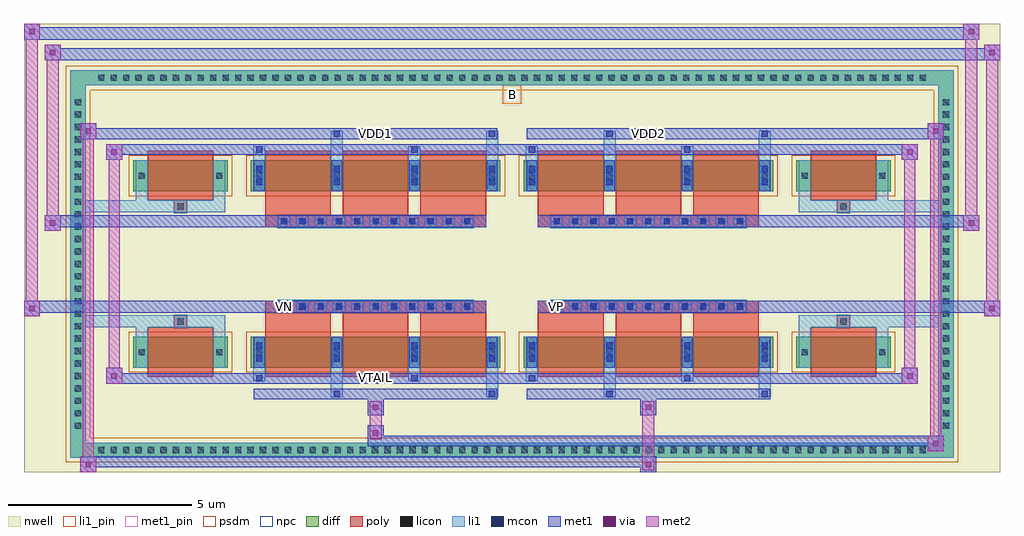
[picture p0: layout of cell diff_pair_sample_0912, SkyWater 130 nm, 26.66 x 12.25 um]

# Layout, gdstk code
import gdstk
lib = gdstk.Library(unit=1e-6, precision=5e-09)
def R(c, l, rs):  # rectangles x0, y0, x1, y1
    for r in rs: c.add(gdstk.rectangle(r[:2], r[2:], *l))
def A(c, l, x, y, w, h, nx, ny, dx, dy):  # array of equal rectangles
    R(c, l, [(x+i*dx, y+j*dy, x+i*dx+w, y+j*dy+h) for i in range(nx) for j in range(ny)])
def P(c, l, *ps):  # polygons
    for p in ps: c.add(gdstk.Polygon(p, *l))
nwell = (64, 20)
diff = (65, 20)
poly = (66, 20)
licon = (66, 44)
li1_pin = (67, 16)
li1 = (67, 20)
mcon = (67, 44)
met1_pin = (68, 16)
met1 = (68, 20)
via = (68, 44)
met2 = (69, 20)
psdm = (94, 20)
npc = (95, 20)

diff_pair_sample_0912 = lib.new_cell('diff_pair_sample_0912')
R(diff_pair_sample_0912, nwell, [(-13.33,-5.69,13.33,6.56), (-10.65,-3.88,-0.01,-0.8), (0.01,-3.88,10.65,-0.8), (-10.65,0.8,-0.01,3.88), (0.01,0.8,10.65,3.88)])
A(diff_pair_sample_0912, diff, -11.425, -5.29, 0.41, 0.41, 67, 2, 0.34, 10.17)
A(diff_pair_sample_0912, diff, -12.06, -4.625, 0.41, 0.41, 1, 27, 0, 0.34)
A(diff_pair_sample_0912, diff, 11.65, -4.625, 0.41, 0.41, 1, 27, 0, 0.34)
R(diff_pair_sample_0912, diff, [(-11.425,-5.29,11.425,-4.88), (-12.06,-4.625,-11.65,4.625), (11.65,-4.625,12.06,4.625), (-10.34,-2.835,-7.77,-1.985), (-7.13,-2.835,-0.32,-1.985), (0.32,-2.835,7.13,-1.985), (7.77,-2.835,10.34,-1.985), (-10.34,1.985,-7.77,2.835), (-7.13,1.985,-0.32,2.835), (0.32,1.985,7.13,2.835), (7.77,1.985,10.34,2.835), (-11.425,4.88,11.425,5.29)])
P(diff_pair_sample_0912, diff, [(12.06,5.29),(-12.06,5.29),(-12.06,-4.88),(-11.65,-4.88),(-11.65,4.88),(11.65,4.88),(11.65,-4.88),(-11.65,-4.88),(-12.06,-4.88),(-12.06,-5.29),(12.06,-5.29)])
A(diff_pair_sample_0912, poly, -6.74, -3.085, 1.79, 1.35, 3, 2, 2.12, 4.82)
A(diff_pair_sample_0912, poly, 0.71, -3.085, 1.79, 1.35, 3, 2, 2.12, 4.82)
A(diff_pair_sample_0912, poly, -6.74, -1.735, 1.79, 0.405, 3, 2, 2.12, 3.065)
A(diff_pair_sample_0912, poly, 0.71, -1.735, 1.79, 0.405, 3, 2, 2.12, 3.065)
A(diff_pair_sample_0912, poly, -6.39, -1.33, 0.33, 0.33, 11, 2, 0.5, 2.33)
A(diff_pair_sample_0912, poly, 1.06, -1.33, 0.33, 0.33, 11, 2, 0.5, 2.33)
R(diff_pair_sample_0912, poly, [(-9.95,-3.085,-8.16,-1.735), (8.16,-3.085,9.95,-1.735), (-9.22,-1.735,-8.89,-1.405), (-9.22,-1.735,-8.89,-1.405), (8.89,-1.735,9.22,-1.405), (8.89,-1.735,9.22,-1.405), (-6.74,-1.33,-0.71,-1), (0.71,-1.33,6.74,-1), (-6.74,1,-0.71,1.33), (0.71,1,6.74,1.33), (-9.22,1.405,-8.89,1.735), (-9.22,1.405,-8.89,1.735), (8.89,1.405,9.22,1.735), (8.89,1.405,9.22,1.735), (-9.95,1.735,-8.16,3.085), (8.16,1.735,9.95,3.085)])
A(diff_pair_sample_0912, licon, -11.305, -5.17, 0.17, 0.17, 67, 2, 0.34, 10.17)
A(diff_pair_sample_0912, licon, -11.94, -4.505, 0.17, 0.17, 1, 27, 0, 0.34)
A(diff_pair_sample_0912, licon, 11.77, -4.505, 0.17, 0.17, 1, 27, 0, 0.34)
A(diff_pair_sample_0912, licon, -6.99, -2.495, 0.17, 0.17, 4, 2, 2.12, 4.82)
A(diff_pair_sample_0912, licon, 0.46, -2.495, 0.17, 0.17, 4, 2, 2.12, 4.82)
A(diff_pair_sample_0912, licon, -6.31, -1.25, 0.17, 0.17, 11, 2, 0.5, 2.33)
A(diff_pair_sample_0912, licon, 1.14, -1.25, 0.17, 0.17, 11, 2, 0.5, 2.33)
R(diff_pair_sample_0912, licon, [(-10.2,-2.495,-10.03,-2.325), (-8.08,-2.495,-7.91,-2.325), (7.91,-2.495,8.08,-2.325), (10.03,-2.495,10.2,-2.325), (-9.14,-1.655,-8.97,-1.485), (8.97,-1.655,9.14,-1.485), (-9.14,1.485,-8.97,1.655), (8.97,1.485,9.14,1.655), (-10.2,2.325,-10.03,2.495), (-8.08,2.325,-7.91,2.495), (7.91,2.325,8.08,2.495), (10.03,2.325,10.2,2.495)])
R(diff_pair_sample_0912, li1_pin, [(-0.25,4.38,0.25,4.88)])
A(diff_pair_sample_0912, li1, -11.385, -5.25, 0.33, 0.33, 67, 2, 0.34, 10.17)
A(diff_pair_sample_0912, li1, -12.02, -4.585, 0.33, 0.33, 1, 27, 0, 0.34)
A(diff_pair_sample_0912, li1, 11.69, -4.585, 0.33, 0.33, 1, 27, 0, 0.34)
A(diff_pair_sample_0912, li1, -7.07, -2.835, 0.33, 0.85, 4, 2, 2.12, 4.82)
A(diff_pair_sample_0912, li1, 0.38, -2.835, 0.33, 0.85, 4, 2, 2.12, 4.82)
A(diff_pair_sample_0912, li1, -6.99, -2.675, 0.17, 0.17, 4, 2, 2.12, 0.36)
A(diff_pair_sample_0912, li1, -6.99, -2.675, 0.17, 0.53, 4, 2, 2.12, 4.82)
A(diff_pair_sample_0912, li1, 0.46, -2.675, 0.17, 0.17, 4, 2, 2.12, 0.36)
A(diff_pair_sample_0912, li1, 0.46, -2.675, 0.17, 0.53, 4, 2, 2.12, 4.82)
A(diff_pair_sample_0912, li1, -7.07, -2.575, 0.33, 0.33, 4, 2, 2.12, 4.82)
A(diff_pair_sample_0912, li1, 0.38, -2.575, 0.33, 0.33, 4, 2, 2.12, 4.82)
A(diff_pair_sample_0912, li1, -6.39, -1.33, 0.33, 0.33, 11, 2, 0.5, 2.33)
A(diff_pair_sample_0912, li1, 1.06, -1.33, 0.33, 0.33, 11, 2, 0.5, 2.33)
A(diff_pair_sample_0912, li1, -6.99, 2.145, 0.17, 0.17, 4, 2, 2.12, 0.36)
A(diff_pair_sample_0912, li1, 0.46, 2.145, 0.17, 0.17, 4, 2, 2.12, 0.36)
R(diff_pair_sample_0912, li1, [(-12.06,-5.29,-11.65,-4.88), (-12.06,-5.29,-11.65,-4.88), (-11.65,-5.29,11.65,-4.88), (11.65,-5.29,12.06,-4.88), (11.65,-5.29,12.06,-4.88), (-12.06,-4.88,-11.65,4.88), (11.65,-4.88,12.06,4.88), (-4.95,-3.64,-4.62,-2.835), (-4.87,-3.64,-4.7,-3.47), (-0.71,-3.64,-0.38,-2.835), (-0.63,-3.64,-0.46,-3.47), (2.5,-3.64,2.83,-2.835), (2.58,-3.64,2.75,-3.47), (6.74,-3.64,7.07,-2.835), (6.82,-3.64,6.99,-3.47), (-7.07,-3.21,-6.74,-2.835), (-6.99,-3.21,-6.82,-3.04), (-2.83,-3.21,-2.5,-2.835), (-2.75,-3.21,-2.58,-3.04), (0.38,-3.21,0.71,-2.835), (0.46,-3.21,0.63,-3.04), (4.62,-3.21,4.95,-2.835), (4.7,-3.21,4.87,-3.04), (-10.28,-2.835,-9.95,-1.985), (-8.16,-2.835,-7.83,-1.985), (7.83,-2.835,8.16,-1.985), (9.95,-2.835,10.28,-1.985), (-10.28,-2.575,-9.95,-2.245), (-8.16,-2.575,-7.83,-2.245), (7.83,-2.575,8.16,-2.245), (9.95,-2.575,10.28,-2.245), (-10.28,-1.985,-9.95,-1.405), (-8.16,-1.985,-7.83,-1.405), (7.83,-1.985,8.16,-1.405), (9.95,-1.985,10.28,-1.405), (-12.06,-1.735,-9.22,-1.405), (-10.28,-1.735,-9.22,-1.405), (-9.22,-1.735,-8.89,-1.405), (-8.89,-1.735,-7.83,-1.405), (7.83,-1.735,8.89,-1.405), (8.89,-1.735,9.22,-1.405), (8.89,-1.735,12.06,-1.405), (9.22,-1.735,10.28,-1.405), (-12.06,1.405,-9.22,1.735), (-10.28,1.405,-9.22,1.735), (-10.28,1.405,-9.95,1.985), (-9.22,1.405,-8.89,1.735), (-8.89,1.405,-7.83,1.735), (-8.16,1.405,-7.83,1.985), (7.83,1.405,8.89,1.735), (7.83,1.405,8.16,1.985), (8.89,1.405,9.22,1.735), (8.89,1.405,12.06,1.735), (9.22,1.405,10.28,1.735), (9.95,1.405,10.28,1.985), (-10.28,1.985,-9.95,2.835), (-8.16,1.985,-7.83,2.835), (7.83,1.985,8.16,2.835), (9.95,1.985,10.28,2.835), (-10.28,2.245,-9.95,2.575), (-8.16,2.245,-7.83,2.575), (7.83,2.245,8.16,2.575), (9.95,2.245,10.28,2.575), (-7.07,2.835,-6.74,3.21), (-4.95,2.835,-4.62,3.64), (-2.83,2.835,-2.5,3.21), (-0.71,2.835,-0.38,3.64), (0.38,2.835,0.71,3.21), (2.5,2.835,2.83,3.64), (4.62,2.835,4.95,3.21), (6.74,2.835,7.07,3.64), (-6.99,3.04,-6.82,3.21), (-2.75,3.04,-2.58,3.21), (0.46,3.04,0.63,3.21), (4.7,3.04,4.87,3.21), (-4.87,3.47,-4.7,3.64), (-0.63,3.47,-0.46,3.64), (2.58,3.47,2.75,3.64), (6.82,3.47,6.99,3.64), (-12.06,4.88,-11.65,5.29), (-12.06,4.88,-11.65,5.29), (-11.65,4.88,11.65,5.29), (11.65,4.88,12.06,5.29), (11.65,4.88,12.06,5.29)])
A(diff_pair_sample_0912, mcon, -6.99, -2.675, 0.17, 0.17, 4, 2, 2.12, 0.36)
A(diff_pair_sample_0912, mcon, 0.46, -2.675, 0.17, 0.17, 4, 2, 2.12, 0.36)
A(diff_pair_sample_0912, mcon, -6.31, -1.25, 0.17, 0.17, 11, 2, 0.5, 2.33)
A(diff_pair_sample_0912, mcon, 1.14, -1.25, 0.17, 0.17, 11, 2, 0.5, 2.33)
A(diff_pair_sample_0912, mcon, -6.99, 2.145, 0.17, 0.17, 4, 2, 2.12, 0.36)
A(diff_pair_sample_0912, mcon, 0.46, 2.145, 0.17, 0.17, 4, 2, 2.12, 0.36)
R(diff_pair_sample_0912, mcon, [(-4.87,-3.64,-4.7,-3.47), (-0.63,-3.64,-0.46,-3.47), (2.58,-3.64,2.75,-3.47), (6.82,-3.64,6.99,-3.47), (-6.99,-3.21,-6.82,-3.04), (-2.75,-3.21,-2.58,-3.04), (0.46,-3.21,0.63,-3.04), (4.7,-3.21,4.87,-3.04), (-6.99,3.04,-6.82,3.21), (-2.75,3.04,-2.58,3.21), (0.46,3.04,0.63,3.21), (4.7,3.04,4.87,3.21), (-4.87,3.47,-4.7,3.64), (-0.63,3.47,-0.46,3.64), (2.58,3.47,2.75,3.64), (6.82,3.47,6.99,3.64)])
R(diff_pair_sample_0912, met1_pin, [(-3.86,-3.25,-3.59,-2.98), (-6.36,-1.29,-6.09,-1.02), (1.09,-1.29,1.36,-1.02), (-3.86,3.43,-3.59,3.7), (3.59,3.43,3.86,3.7)])
A(diff_pair_sample_0912, met1, -7.05, -2.835, 0.29, 0.85, 4, 2, 2.12, 4.82)
A(diff_pair_sample_0912, met1, 0.4, -2.835, 0.29, 0.85, 4, 2, 2.12, 4.82)
A(diff_pair_sample_0912, met1, -7.05, -2.735, 0.29, 0.29, 4, 2, 2.12, 0.36)
A(diff_pair_sample_0912, met1, 0.4, -2.735, 0.29, 0.29, 4, 2, 2.12, 0.36)
A(diff_pair_sample_0912, met1, -6.37, -1.31, 0.29, 0.29, 11, 2, 0.5, 2.33)
A(diff_pair_sample_0912, met1, 1.08, -1.31, 0.29, 0.29, 11, 2, 0.5, 2.33)
A(diff_pair_sample_0912, met1, -7.05, 2.085, 0.29, 0.29, 4, 2, 2.12, 0.36)
A(diff_pair_sample_0912, met1, 0.4, 2.085, 0.29, 0.29, 4, 2, 2.12, 0.36)
R(diff_pair_sample_0912, met1, [(-11.79,-5.69,-11.36,-5.26), (3.51,-5.69,3.94,-5.26), (-11.79,-5.55,3.94,-5.26), (11.36,-5.12,11.79,-4.69), (-3.94,-4.98,11.79,-4.69), (-3.94,-4.84,-3.51,-4.41), (-3.94,-4.13,-3.51,-3.7), (3.51,-4.13,3.94,-3.7), (-7.05,-3.7,-0.4,-3.41), (-4.93,-3.7,-4.64,-3.41), (-0.69,-3.7,-0.4,-3.41), (0.4,-3.7,7.05,-3.41), (2.52,-3.7,2.81,-3.41), (6.76,-3.7,7.05,-3.41), (-11.08,-3.27,-10.65,-2.84), (-11.08,-3.27,-7.05,-2.98), (-7.05,-3.27,-6.76,-2.98), (-7.05,-3.27,-0.4,-2.98), (-2.81,-3.27,-2.52,-2.98), (-0.4,-3.27,0.4,-2.98), (0.4,-3.27,0.69,-2.98), (0.4,-3.27,7.05,-2.98), (4.64,-3.27,4.93,-2.98), (7.05,-3.27,11.08,-2.98), (10.65,-3.27,11.08,-2.84), (-13.33,-1.43,-12.9,-1), (12.9,-1.43,13.33,-1), (-13.33,-1.33,-0.71,-1), (-6.74,-1.33,-0.71,-1), (0.71,-1.33,6.74,-1), (0.71,-1.33,13.33,-1), (-12.76,0.9,-12.33,1.33), (12.33,0.9,12.76,1.33), (-12.76,1,-6.74,1.33), (-6.74,1,-0.71,1.33), (0.71,1,6.74,1.33), (6.74,1,12.76,1.33), (-11.08,2.84,-10.65,3.27), (10.65,2.84,11.08,3.27), (-11.08,2.98,-7.05,3.27), (-7.05,2.98,-6.76,3.27), (-7.05,2.98,-0.4,3.27), (-2.81,2.98,-2.52,3.27), (-0.4,2.98,0.4,3.27), (0.4,2.98,0.69,3.27), (0.4,2.98,7.05,3.27), (4.64,2.98,4.93,3.27), (7.05,2.98,11.08,3.27), (-11.79,3.41,-11.36,3.84), (-11.79,3.41,-7.05,3.7), (-7.05,3.41,-0.4,3.7), (-4.93,3.41,-4.64,3.7), (-0.69,3.41,-0.4,3.7), (0.4,3.41,7.05,3.7), (2.52,3.41,2.81,3.7), (6.76,3.41,7.05,3.7), (7.05,3.41,11.79,3.7), (11.36,3.41,11.79,3.84), (-12.76,5.56,-12.33,5.99), (-12.76,5.56,-10.65,5.89), (-10.65,5.56,10.65,5.89), (10.65,5.56,13.33,5.89), (12.9,5.56,13.33,5.99), (-13.33,6.13,-12.9,6.56), (-13.33,6.13,-10.65,6.46), (-10.65,6.13,10.65,6.46), (10.65,6.13,12.76,6.46), (12.33,6.13,12.76,6.56)])
R(diff_pair_sample_0912, via, [(-11.65,-5.55,-11.5,-5.4), (3.65,-5.55,3.8,-5.4), (11.5,-4.98,11.65,-4.83), (-3.8,-4.7,-3.65,-4.55), (-3.8,-3.99,-3.65,-3.84), (3.65,-3.99,3.8,-3.84), (-10.94,-3.13,-10.79,-2.98), (10.79,-3.13,10.94,-2.98), (-13.19,-1.29,-13.04,-1.14), (13.04,-1.29,13.19,-1.14), (-12.62,1.04,-12.47,1.19), (12.47,1.04,12.62,1.19), (-10.94,2.98,-10.79,3.13), (10.79,2.98,10.94,3.13), (-11.65,3.55,-11.5,3.7), (11.5,3.55,11.65,3.7), (-12.62,5.7,-12.47,5.85), (13.04,5.7,13.19,5.85), (-13.19,6.27,-13.04,6.42), (12.47,6.27,12.62,6.42)])
R(diff_pair_sample_0912, met2, [(-11.79,-5.69,-11.36,-5.26), (-11.72,-5.69,-11.43,3.84), (-11.43,-5.69,-11.36,-5.26), (-11.74,-5.64,-11.41,-5.31), (3.56,-5.64,3.89,-5.31), (3.56,-5.31,3.89,-4.08), (11.36,-5.12,11.79,-4.69), (11.43,-5.12,11.72,3.84), (11.72,-5.12,11.79,-4.69), (11.41,-5.07,11.74,-4.74), (-3.89,-4.79,-3.56,-4.46), (-3.89,-4.46,-3.56,-4.08), (-3.89,-4.08,-3.56,-3.75), (3.56,-4.08,3.89,-3.75), (-11.08,-3.27,-10.65,-2.84), (-11.01,-3.27,-10.72,3.27), (-10.72,-3.27,-10.65,-2.84), (10.65,-3.27,11.08,-2.84), (10.72,-3.27,11.01,3.27), (11.01,-3.27,11.08,-2.84), (-11.03,-3.22,-10.7,-2.89), (10.7,-3.22,11.03,-2.89), (-13.33,-1.43,-12.9,-1), (-13.28,-1.43,-12.95,6.56), (-12.95,-1.43,-12.9,-1), (12.9,-1.43,13.33,-1), (12.95,-1.43,13.28,5.99), (13.28,-1.43,13.33,-1), (-13.28,-1.38,-12.95,-1.05), (12.95,-1.38,13.28,-1.05), (-12.76,0.9,-12.33,1.33), (-12.71,0.9,-12.38,5.99), (-12.38,0.9,-12.33,1.33), (12.33,0.9,12.76,1.33), (12.38,0.9,12.71,6.56), (12.71,0.9,12.76,1.33), (-12.71,0.95,-12.38,1.28), (12.38,0.95,12.71,1.28), (-11.08,2.84,-10.65,3.27), (-10.72,2.84,-10.65,3.27), (10.65,2.84,11.08,3.27), (11.01,2.84,11.08,3.27), (-11.03,2.89,-10.7,3.22), (10.7,2.89,11.03,3.22), (-11.79,3.41,-11.36,3.84), (-11.43,3.41,-11.36,3.84), (11.36,3.41,11.79,3.84), (11.72,3.41,11.79,3.84), (-11.74,3.46,-11.41,3.79), (11.41,3.46,11.74,3.79), (-12.76,5.56,-12.33,5.99), (-12.38,5.56,-12.33,5.99), (12.9,5.56,13.33,5.99), (13.28,5.56,13.33,5.99), (-12.71,5.61,-12.38,5.94), (12.95,5.61,13.28,5.94), (-13.33,6.13,-12.9,6.56), (-12.95,6.13,-12.9,6.56), (12.33,6.13,12.76,6.56), (12.71,6.13,12.76,6.56), (-13.28,6.18,-12.95,6.51), (12.38,6.18,12.71,6.51)])
R(diff_pair_sample_0912, psdm, [(-10.47,-2.965,-7.64,-1.855), (-7.26,-2.965,-0.19,-1.855), (0.19,-2.965,7.26,-1.855), (7.64,-2.965,10.47,-1.855), (-10.47,1.855,-7.64,2.965), (-7.26,1.855,-0.19,2.965), (0.19,1.855,7.26,2.965), (7.64,1.855,10.47,2.965)])
P(diff_pair_sample_0912, psdm, [(12.19,5.42),(-12.19,5.42),(-12.19,-4.75),(-11.52,-4.75),(-11.52,4.75),(11.52,4.75),(11.52,-4.75),(-11.52,-4.75),(-12.19,-4.75),(-12.19,-5.42),(12.19,-5.42)])
A(diff_pair_sample_0912, npc, -6.41, -1.35, 0.37, 0.37, 11, 2, 0.5, 2.33)
A(diff_pair_sample_0912, npc, 1.04, -1.35, 0.37, 0.37, 11, 2, 0.5, 2.33)
R(diff_pair_sample_0912, npc, [(-9.24,-1.755,-8.87,-1.385), (8.87,-1.755,9.24,-1.385), (-6.41,-1.35,-5.54,-0.98), (-6.41,-1.35,-5.54,-0.98), (-5.91,-1.35,-5.04,-0.98), (-5.91,-1.35,-5.04,-0.98), (-5.41,-1.35,-4.54,-0.98), (-5.41,-1.35,-4.54,-0.98), (-4.91,-1.35,-4.04,-0.98), (-4.91,-1.35,-4.04,-0.98), (-4.41,-1.35,-3.54,-0.98), (-4.41,-1.35,-3.54,-0.98), (-3.91,-1.35,-3.04,-0.98), (-3.91,-1.35,-3.04,-0.98), (-3.41,-1.35,-2.54,-0.98), (-3.41,-1.35,-2.54,-0.98), (-2.91,-1.35,-2.04,-0.98), (-2.91,-1.35,-2.04,-0.98), (-2.41,-1.35,-1.54,-0.98), (-2.41,-1.35,-1.54,-0.98), (-1.91,-1.35,-1.04,-0.98), (-1.91,-1.35,-1.04,-0.98), (1.04,-1.35,1.91,-0.98), (1.04,-1.35,1.91,-0.98), (1.54,-1.35,2.41,-0.98), (1.54,-1.35,2.41,-0.98), (2.04,-1.35,2.91,-0.98), (2.04,-1.35,2.91,-0.98), (2.54,-1.35,3.41,-0.98), (2.54,-1.35,3.41,-0.98), (3.04,-1.35,3.91,-0.98), (3.04,-1.35,3.91,-0.98), (3.54,-1.35,4.41,-0.98), (3.54,-1.35,4.41,-0.98), (4.04,-1.35,4.91,-0.98), (4.04,-1.35,4.91,-0.98), (4.54,-1.35,5.41,-0.98), (4.54,-1.35,5.41,-0.98), (5.04,-1.35,5.91,-0.98), (5.04,-1.35,5.91,-0.98), (5.54,-1.35,6.41,-0.98), (5.54,-1.35,6.41,-0.98), (-6.41,0.98,-5.54,1.35), (-6.41,0.98,-5.54,1.35), (-5.91,0.98,-5.04,1.35), (-5.91,0.98,-5.04,1.35), (-5.41,0.98,-4.54,1.35), (-5.41,0.98,-4.54,1.35), (-4.91,0.98,-4.04,1.35), (-4.91,0.98,-4.04,1.35), (-4.41,0.98,-3.54,1.35), (-4.41,0.98,-3.54,1.35), (-3.91,0.98,-3.04,1.35), (-3.91,0.98,-3.04,1.35), (-3.41,0.98,-2.54,1.35), (-3.41,0.98,-2.54,1.35), (-2.91,0.98,-2.04,1.35), (-2.91,0.98,-2.04,1.35), (-2.41,0.98,-1.54,1.35), (-2.41,0.98,-1.54,1.35), (-1.91,0.98,-1.04,1.35), (-1.91,0.98,-1.04,1.35), (1.04,0.98,1.91,1.35), (1.04,0.98,1.91,1.35), (1.54,0.98,2.41,1.35), (1.54,0.98,2.41,1.35), (2.04,0.98,2.91,1.35), (2.04,0.98,2.91,1.35), (2.54,0.98,3.41,1.35), (2.54,0.98,3.41,1.35), (3.04,0.98,3.91,1.35), (3.04,0.98,3.91,1.35), (3.54,0.98,4.41,1.35), (3.54,0.98,4.41,1.35), (4.04,0.98,4.91,1.35), (4.04,0.98,4.91,1.35), (4.54,0.98,5.41,1.35), (4.54,0.98,5.41,1.35), (5.04,0.98,5.91,1.35), (5.04,0.98,5.91,1.35), (5.54,0.98,6.41,1.35), (5.54,0.98,6.41,1.35), (-9.24,1.385,-8.87,1.755), (8.87,1.385,9.24,1.755)])
diff_pair_sample_0912.add(gdstk.Label('VTAIL', (-3.725,-3.115), layer=68, texttype=5))
diff_pair_sample_0912.add(gdstk.Label('VN', (-6.225,-1.155), layer=68, texttype=5))
diff_pair_sample_0912.add(gdstk.Label('VP', (1.225,-1.155), layer=68, texttype=5))
diff_pair_sample_0912.add(gdstk.Label('B', (0,4.63), layer=67, texttype=5))
diff_pair_sample_0912.add(gdstk.Label('VDD2', (3.725,3.565), layer=68, texttype=5))
diff_pair_sample_0912.add(gdstk.Label('VDD1', (-3.725,3.565), layer=68, texttype=5))

lib.write_gds('diff_pair_sample_0912.gds')
